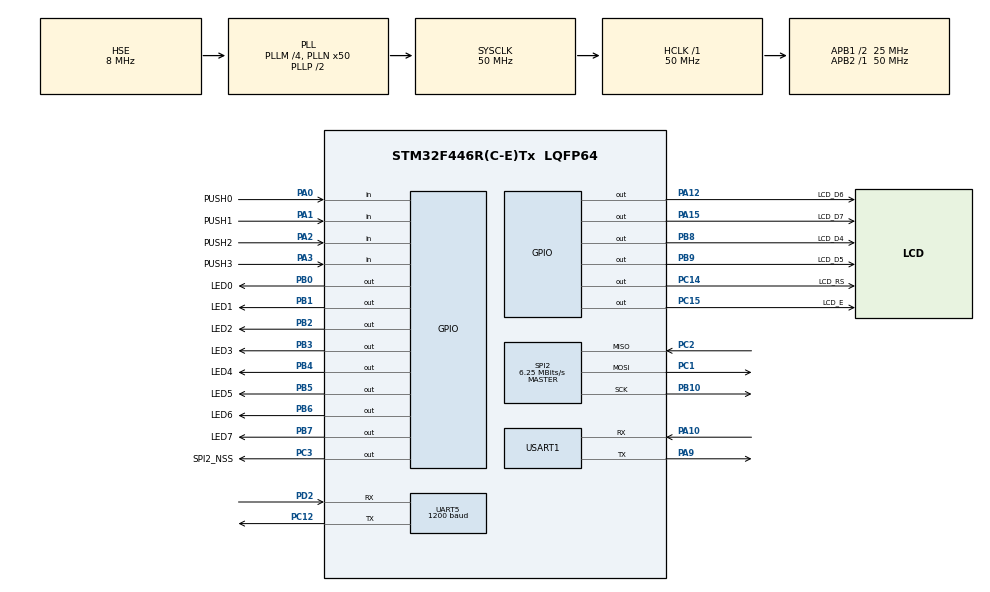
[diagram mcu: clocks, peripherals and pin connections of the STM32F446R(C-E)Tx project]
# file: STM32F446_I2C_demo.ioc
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FATFS._MAX_SS=4096
FATFS._USE_LFN=1
Mcu.Family=STM32F4
Mcu.Name=STM32F446R(C-E)Tx
Mcu.Package=LQFP64
NVIC.PriorityGroup=NVIC_PRIORITYGROUP_4
NVIC.UART5_IRQn=true\:0\:0\:false\:false\:true\:true\:true\:true
PA0-WKUP.GPIO_Label=PUSH0
PA0-WKUP.GPIO_PuPd=GPIO_PULLUP
PA0-WKUP.Signal=GPIO_Input
PA1.GPIO_Label=PUSH1
PA1.GPIO_PuPd=GPIO_PULLUP
PA1.Signal=GPIO_Input
PA10.Mode=Asynchronous
PA10.Signal=USART1_RX
PA12.GPIO_Label=LCD_D6
PA12.Signal=GPIO_Output
PA13.Mode=Serial_Wire
PA13.Signal=SYS_JTMS-SWDIO
PA14.Mode=Serial_Wire
PA14.Signal=SYS_JTCK-SWCLK
PA15.GPIO_Label=LCD_D7
PA15.Signal=GPIO_Output
PA2.GPIO_Label=PUSH2
PA2.GPIO_PuPd=GPIO_PULLUP
PA2.Signal=GPIO_Input
PA3.GPIO_Label=PUSH3
PA3.GPIO_PuPd=GPIO_PULLUP
PA3.Signal=GPIO_Input
PA9.Mode=Asynchronous
PA9.Signal=USART1_TX
PB0.GPIO_Label=LED0
PB0.Signal=GPIO_Output
PB1.GPIO_Label=LED1
PB1.Signal=GPIO_Output
PB10.Mode=Full_Duplex_Master
PB10.Signal=SPI2_SCK
PB2.GPIO_Label=LED2
PB2.Signal=GPIO_Output
PB3.GPIO_Label=LED3
PB3.Signal=GPIO_Output
PB4.GPIO_Label=LED4
PB4.Signal=GPIO_Output
PB5.GPIO_Label=LED5
PB5.Signal=GPIO_Output
PB6.GPIO_Label=LED6
PB6.Signal=GPIO_Output
PB7.GPIO_Label=LED7
PB7.Signal=GPIO_Output
PB8.GPIO_Label=LCD_D4
PB8.Signal=GPIO_Output
PB9.GPIO_Label=LCD_D5
PB9.Signal=GPIO_Output
PC1.Mode=Full_Duplex_Master
PC1.Signal=SPI2_MOSI
PC12.Mode=Asynchronous
PC12.Signal=UART5_TX
PC14-OSC32_IN.GPIO_Label=LCD_RS
PC14-OSC32_IN.Signal=GPIO_Output
PC15-OSC32_OUT.GPIO_Label=LCD_E
PC15-OSC32_OUT.Signal=GPIO_Output
PC2.Mode=Full_Duplex_Master
PC2.Signal=SPI2_MISO
PC3.GPIO_Label=SPI2_NSS
PC3.Signal=GPIO_Output
PD2.Mode=Asynchronous
PD2.Signal=UART5_RX
PH0-OSC_IN.Mode=HSE-External-Oscillator
PH0-OSC_IN.Signal=RCC_OSC_IN
PH1-OSC_OUT.Mode=HSE-External-Oscillator
PH1-OSC_OUT.Signal=RCC_OSC_OUT
ProjectManager.HeapSize=0x200
ProjectManager.StackSize=0x400
ProjectManager.TargetToolchain=Makefile
RCC.AHBFreq_Value=50000000
RCC.APB1CLKDivider=RCC_HCLK_DIV2
RCC.APB1Freq_Value=25000000
RCC.APB1TimFreq_Value=50000000
RCC.APB2Freq_Value=50000000
RCC.APB2TimFreq_Value=50000000
RCC.CortexFreq_Value=50000000
RCC.HCLKFreq_Value=50000000
RCC.HSE_VALUE=8000000
RCC.PLLM=4
RCC.PLLN=50
RCC.PLLSourceVirtual=RCC_PLLSOURCE_HSE
RCC.SYSCLKFreq_VALUE=50000000
RCC.SYSCLKSource=RCC_SYSCLKSOURCE_PLLCLK
RCC.USBFreq_Value=50000000
RCC.VCOOutputFreq_Value=100000000
SPI2.BaudRatePrescaler=SPI_BAUDRATEPRESCALER_4
SPI2.CalculateBaudRate=6.25 MBits/s
SPI2.Direction=SPI_DIRECTION_2LINES
SPI2.Mode=SPI_MODE_MASTER
SPI2.VirtualType=VM_MASTER
UART5.BaudRate=1200
UART5.Mode=MODE_RX
UART5.VirtualMode=Asynchronous
USART1.VirtualMode=VM_ASYNC
VP_FATFS_VS_Generic.Mode=User_defined
board=custom

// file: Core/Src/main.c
/* USER CODE BEGIN Header */
/**
  ******************************************************************************
  * @file           : main.c
  * @brief          : Main program body
  ******************************************************************************
  * @attention
  *
  * Copyright (c) 2024 STMicroelectronics.
  * All rights reserved.
  *
  * This software is licensed under terms that can be found in the LICENSE file
  * in the root directory of this software component.
  * If no LICENSE file comes with this software, it is provided AS-IS.
  *
  ******************************************************************************
  */
/* USER CODE END Header */
#include "main.h"
#include "fatfs.h"
#include "spi.h"
#include "usart.h"
#include "gpio.h"

/* USER CODE BEGIN Includes */
#include "lcd_stm32f0.h"
/* USER CODE END Includes */

/* USER CODE BEGIN PD */
#define DATA_LENGTH 7
#define RX_START 0x54
#define RX_END 0x70
/* USER CODE END PD */

/* USER CODE BEGIN PV */
uint8_t led_val = 0;
uint16_t delay_ms = 500;

uint8_t last_device_id = 0;
uint8_t last_sensor = 0;
uint16_t last_heartbeat = 0;
uint16_t last_val = 0;

char incoming_byte;
uint8_t output_buff[5];
volatile char recvd_data[DATA_LENGTH];
char line_one[25];
char line_two[25];
uint16_t cnt = 0;
/* USER CODE END PV */

void SystemClock_Config(void);

int main(void)
{

  /* MCU Configuration--------------------------------------------------------*/

  /* Reset of all peripherals, Initializes the Flash interface and the Systick. */
  HAL_Init();

  /* Configure the system clock */
  SystemClock_Config();

  /* Initialize all configured peripherals */
  MX_GPIO_Init();
  MX_UART5_Init();
  MX_USART1_UART_Init();
  MX_SPI2_Init();
  MX_FATFS_Init();
  /* USER CODE BEGIN 2 */
  init_LCD_pins();
  init_LCD();
  HAL_Delay(10);

  update_lcd();
  HAL_UART_Receive_IT(&huart5,&incoming_byte,1); //receive data from data buffer interrupt mode

  /* USER CODE END 2 */

  /* Infinite loop */
  /* USER CODE BEGIN WHILE */
  while (1)
  {
    HAL_Delay(1);
    cnt++;
    if(cnt%delay_ms == 0) {
      led_val++;
      last_heartbeat++;
      cnt = 0;
      update_lcd();
    }
    update_leds();
    /* USER CODE END WHILE */

  }
}

void SystemClock_Config(void)
{
  RCC_OscInitTypeDef RCC_OscInitStruct = {0};
  RCC_ClkInitTypeDef RCC_ClkInitStruct = {0};

  /** Configure the main internal regulator output voltage
  */
  __HAL_RCC_PWR_CLK_ENABLE();
  __HAL_PWR_VOLTAGESCALING_CONFIG(PWR_REGULATOR_VOLTAGE_SCALE3);

  /** Initializes the RCC Oscillators according to the specified parameters
  * in the RCC_OscInitTypeDef structure.
  */
  RCC_OscInitStruct.OscillatorType = RCC_OSCILLATORTYPE_HSE;
  RCC_OscInitStruct.HSEState = RCC_HSE_ON;
  RCC_OscInitStruct.PLL.PLLState = RCC_PLL_ON;
  RCC_OscInitStruct.PLL.PLLSource = RCC_PLLSOURCE_HSE;
  RCC_OscInitStruct.PLL.PLLM = 4;
  RCC_OscInitStruct.PLL.PLLN = 50;
  RCC_OscInitStruct.PLL.PLLP = RCC_PLLP_DIV2;
  RCC_OscInitStruct.PLL.PLLQ = 2;
  RCC_OscInitStruct.PLL.PLLR = 2;
  if (HAL_RCC_OscConfig(&RCC_OscInitStruct) != HAL_OK)
  {
    Error_Handler();
  }

  /** Initializes the CPU, AHB and APB buses clocks
  */
  RCC_ClkInitStruct.ClockType = RCC_CLOCKTYPE_HCLK|RCC_CLOCKTYPE_SYSCLK
                              |RCC_CLOCKTYPE_PCLK1|RCC_CLOCKTYPE_PCLK2;
  RCC_ClkInitStruct.SYSCLKSource = RCC_SYSCLKSOURCE_PLLCLK;
  RCC_ClkInitStruct.AHBCLKDivider = RCC_SYSCLK_DIV1;
  RCC_ClkInitStruct.APB1CLKDivider = RCC_HCLK_DIV2;
  RCC_ClkInitStruct.APB2CLKDivider = RCC_HCLK_DIV1;

  if (HAL_RCC_ClockConfig(&RCC_ClkInitStruct, FLASH_LATENCY_1) != HAL_OK)
  {
    Error_Handler();
  }
}

/* USER CODE BEGIN 4 */

void clear_rx_data() {
 for(uint8_t i = 0; i<DATA_LENGTH;i++) {
    recvd_data[i] = 0;
  }
}

void update_lcd() {
  sprintf(line_one, "D_ID:%d pTx:%d     ",last_device_id,last_heartbeat);
  sprintf(line_two, "S_ID:%d Val:%d     ", last_sensor, last_val);
  line_one[16] = 0;
  line_two[16] = 0;
  lcd_command(CURSOR_HOME);
  lcd_putstring(line_one);
  lcd_command(LINE_TWO);
  lcd_putstring(line_two);
}

void update_leds() {
  GPIOB->ODR = led_val;
}

//UART 5 receive complete callback
void HAL_UART_RxCpltCallback(UART_HandleTypeDef *huart)
{
  for(int8_t i = DATA_LENGTH-1; i>=1 ;i--) {
    recvd_data[i] = recvd_data[i-1];
  }
  recvd_data[0] = incoming_byte;
	HAL_GPIO_TogglePin(LED7_GPIO_Port,LED7_Pin);
  if(recvd_data[DATA_LENGTH-1]==RX_START && recvd_data[0] == RX_END) {
    if(recvd_data[1] = (recvd_data[5]+recvd_data[4]+recvd_data[3]+recvd_data[2])) {
      last_device_id = recvd_data[5];
      last_sensor = recvd_data[4];
      last_val = ((recvd_data[3]*256) + recvd_data[2]);
      last_heartbeat = 0;

      output_buff[1] = (uint8_t)last_val;
      output_buff[2] = last_val>>8;
      output_buff[3] = last_sensor;
      output_buff[4] = last_device_id;
      output_buff[0] = output_buff[4]+output_buff[3]+output_buff[2]+output_buff[1];
      HAL_UART_Transmit(&huart1,output_buff,5,100);
      clear_rx_data();
      led_val = 0;
    }
  }
	HAL_UART_Receive_IT(&huart5,&incoming_byte,1); //start next data receive interrupt
}
/* USER CODE END 4 */

void Error_Handler(void)
{
  __disable_irq();
  while (1)
  {
  }
}
